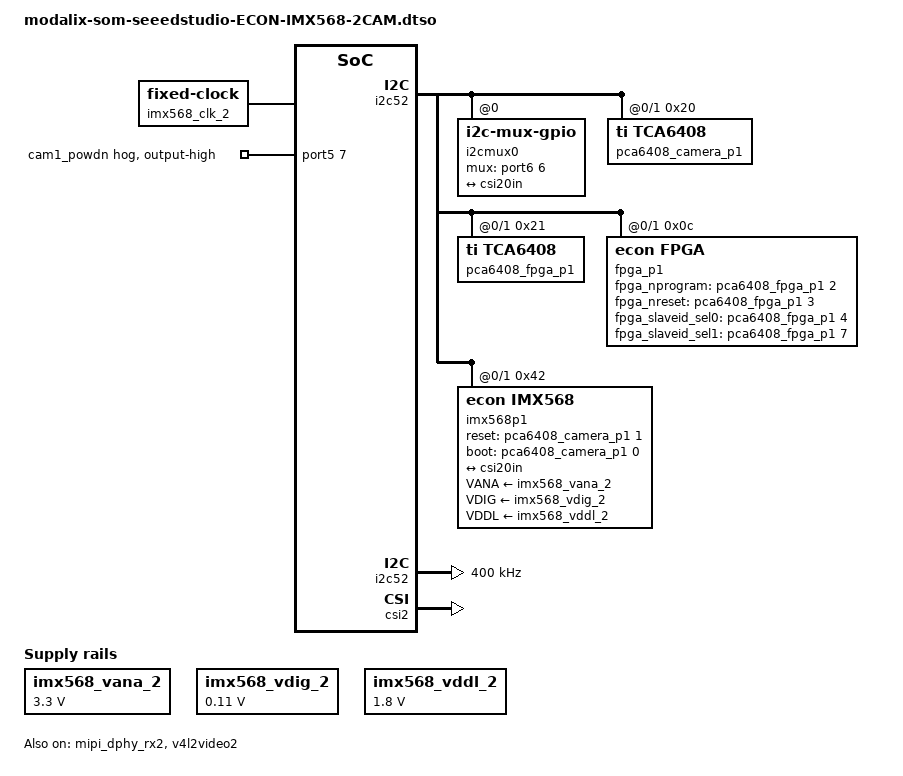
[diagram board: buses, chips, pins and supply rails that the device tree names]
// SPDX-License-Identifier: (GPL-2.0+ OR MIT)
/*
 * Copyright (c) 2026 SiMa ai
 */

/dts-v1/;
/plugin/;

&{/} {
    imx568_vana_2: csi2_fixedregulator@0 {
        compatible = "regulator-fixed";
        regulator-name = "imx568_vana_2";
        regulator-min-microvolt = <3300000>;
        regulator-max-microvolt = <3300000>;
        enable-active-high;
        startup-delay-us = <300000>;
        regulator-always-on;
    };

    imx568_vdig_2: csi2_fixedregulator@1 {
        compatible = "regulator-fixed";
        regulator-name = "imx568_vdig_2";
        regulator-min-microvolt = <110000>;
        regulator-max-microvolt = <110000>;
        regulator-always-on;
    };

    imx568_vddl_2: csi2_fixedregulator@2 {
        compatible = "regulator-fixed";
        regulator-name = "imx568_vddl_2";
        regulator-min-microvolt = <1800000>;
        regulator-max-microvolt = <1800000>;
        regulator-always-on;
    };

    imx568_clk_2: csi2_camera-clk {
        compatible = "fixed-clock";
        #clock-cells = <0>;
        clock-frequency = <37125000>;
    };

    i2cmux0: i2cmux@0 {
        compatible = "i2c-mux-gpio";
        i2c-parent = <&i2c52>;
        #address-cells = <1>;
        #size-cells = <0>;
        /* Set port6 gpio6 to GPIO_ACTIVE_LOW mode */
        mux-gpios = <&port6 6 0>;

        i2cmux0p1: i2c@1 {
            reg = <1>;
            #address-cells = <1>;
            #size-cells = <0>;
        };
    };
};

&port5 {
        cam-hog1 {
                gpio-hog;
                /* Set port5 gpio7 to GPIO_ACTIVE_HIGH mode */
                gpios = <7 0>;
                output-high;
                line-name = "cam1_powdn";
        };
};

&i2c52 {
    status = "okay";
    clock-frequency = <400000>;
    #address-cells = <1>;
    #size-cells = <0>;
};

&csi2 {
    status = "okay";

    /* controller mode: IPI generates frame timing from these bt blanking values (active res from set_fmt) */
    simaai,bt-pixelclock = /bits/ 64 <500000000>;
    simaai,bt-hsync = <2>;
    simaai,bt-hbackporch = <100>;
    simaai,bt-hfrontporch = <1548>;
    simaai,bt-vsync = <1>;
    simaai,bt-vbackporch = <68>;
    simaai,bt-vfrontporch = <1>;
    simaai,ipi-controller-mode = <1>;
    simaai,ipi-emb-data-enable = <0>;
};

&axi_vdma2 {
    status = "okay";
};

&mipi_dphy_rx2 {
    status = "okay";
};

&v4l2video2 {
    status = "okay";
};

&v4l2vdma2 {
    status = "okay";
};

&csi20in {
    clock-lanes = <0>;
    data-lanes = <1 2>;
    link-frequencies = /bits/ 64 <594000000>;
    remote-endpoint = <&cam20out>;
    clock-continuous;
};

&i2cmux0p1 {
    pca6408_camera_p1: pca6408@20 {
        compatible = "ti,tca6408";
        gpio-controller;
        #gpio-cells = <2>;
        reg = <0x20>;
        status = "okay";
    };

    pca6408_fpga_p1: pca6408@21 {
        compatible = "ti,tca6408";
        gpio-controller;
        #gpio-cells = <2>;
        reg = <0x21>;
        status = "okay";
    };

    fpga_p1: fpga@c {
        compatible = "econ,fpga";
        reg = <0x0c>;
        status = "okay";
        fpga_nprogram-gpios = <&pca6408_fpga_p1 2 0>;
        fpga_nreset-gpios = <&pca6408_fpga_p1 3 0>;
        fpga_slaveid_sel0-gpios = <&pca6408_fpga_p1 4 0>;
        fpga_slaveid_sel1-gpios = <&pca6408_fpga_p1 7 0>;
		mipi_filter_dt1 = <0x92>;
		mipi_filter_dt2 = <0x93>;
		mipi_filter_dt3 = <0xb7>;
		mipi_filter_dt4 = <0x7f>;
		mipi_speed = <1188>;
		mipi_tx_clockmode = <0>; // Discontinuous
		mipi_rx_clockmode = <0>; // Discontinuous
    };

    imx568p1: imx568@42 {
        compatible = "econ,imx568";
        reg = <0x42>;
        clocks = <&imx568_clk_2>;
        clock-names = "xclk";
        VANA-supply = <&imx568_vana_2>;
        VDIG-supply = <&imx568_vdig_2>;
        VDDL-supply = <&imx568_vddl_2>;
        reset-gpios = <&pca6408_camera_p1 1 0>;
        boot-gpios  = <&pca6408_camera_p1 0 0>;

        /* Exposure window limits in microseconds (min 300 us, max 18 ms) */
        simaai,manual_exposure_min = <300>;
        simaai,manual_exposure_max = <18000>;
        camera_mipi_lanes = <2>;
        cam_fw_name = "imx568_cam_fw.bin";

        port@1 {
            cam20out: endpoint@0 {
                clock-lanes = <0>;
                data-lanes = <1 2>;
                link-frequencies = /bits/ 64 <594000000>;
                remote-endpoint = <&csi20in>;
                clock-continuous;
            };
        };
    };
};
